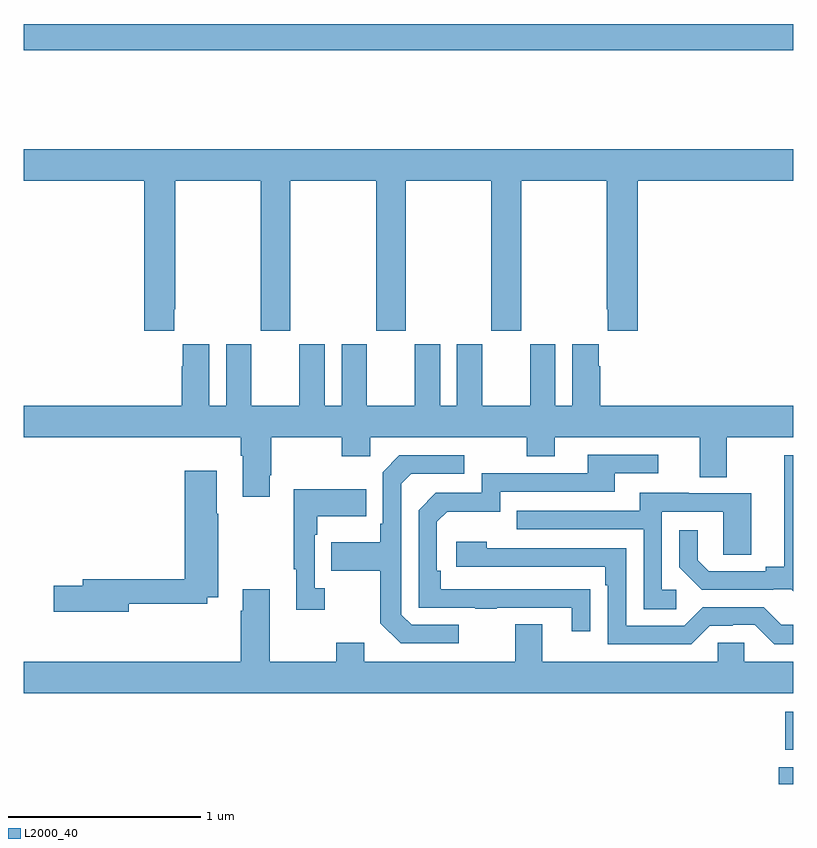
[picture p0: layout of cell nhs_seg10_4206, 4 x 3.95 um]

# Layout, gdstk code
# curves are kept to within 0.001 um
import gdstk
lib = gdstk.Library(unit=1e-6, precision=1e-09)
def R(c, l, rs):  # rectangles x0, y0, x1, y1
    for r in rs: c.add(gdstk.rectangle(r[:2], r[2:], *l))
def P(c, l, *ps):  # polygons
    for p in ps: c.add(gdstk.Polygon(p, *l))
L2000_40 = (2000, 40)

nhs_seg10_4206 = lib.new_cell('nhs_seg10_4206')
R(nhs_seg10_4206, L2000_40, [(348.926,1310.5,349,1310.587), (348.959,1310.678,349,1310.877), (345,1314.316,349,1314.452)])
P(nhs_seg10_4206, L2000_40, [(345.781,1312.969),(345.786,1312.969),(345.786,1313.636),(346.231,1313.636),(346.231,1312.857),(346.386,1312.857),(346.386,1313.636),(346.831,1313.636),(346.831,1312.857),(346.986,1312.857),(346.986,1313.636),(347.431,1313.636),(347.431,1312.857),(347.586,1312.857),(347.586,1313.636),(348.031,1313.636),(348.031,1312.969),(348.035,1312.969),(348.035,1312.857),(348.191,1312.857),(348.191,1313.636),(349,1313.636),(349,1313.8),(345,1313.8),(345,1313.636),(345.626,1313.636),(345.626,1312.857),(345.781,1312.857)],
  [(348.515,1312.096),(348.655,1312.096),(348.655,1312.304),(349,1312.304),(349,1312.468),(347.996,1312.468),(347.996,1312.673),(347.989,1312.673),(347.989,1312.786),(347.852,1312.786),(347.852,1312.468),(347.764,1312.468),(347.764,1312.786),(347.633,1312.786),(347.633,1312.468),(347.383,1312.468),(347.383,1312.786),(347.252,1312.786),(347.252,1312.468),(347.164,1312.468),(347.164,1312.786),(347.033,1312.786),(347.033,1312.468),(346.783,1312.468),(346.783,1312.786),(346.652,1312.786),(346.652,1312.468),(346.564,1312.468),(346.564,1312.786),(346.433,1312.786),(346.433,1312.468),(346.183,1312.468),(346.183,1312.786),(346.052,1312.786),(346.052,1312.468),(345.964,1312.468),(345.964,1312.786),(345.827,1312.786),(345.827,1312.673),(345.821,1312.673),(345.821,1312.468),(345,1312.468),(345,1312.304),(346.127,1312.304),(346.127,1312.208),(346.139,1312.208),(346.139,1311.993),(346.279,1311.993),(346.279,1312.105),(346.287,1312.105),(346.287,1312.304),(346.654,1312.304),(346.654,1312.205),(346.8,1312.205),(346.8,1312.304),(347.614,1312.304),(347.614,1312.205),(347.761,1312.205),(347.761,1312.304),(348.515,1312.304)],
  [(347.945,1311.512),(347.168,1311.513),(347.168,1311.61),(347.148,1311.61),(347.148,1311.864),(347.201,1311.917),(347.478,1311.917),(347.478,1312.02),(348.073,1312.02),(348.073,1312.116),(348.298,1312.116),(348.298,1312.212),(347.933,1312.212),(347.933,1312.116),(347.382,1312.116),(347.382,1312.014),(347.142,1312.014),(347.052,1311.924),(347.052,1311.417),(347.347,1311.417),(347.347,1311.412),(347.459,1311.412),(347.459,1311.417),(347.849,1311.417),(347.849,1311.294),(347.945,1311.294)],
  [(349,1312.209),(348.953,1312.209),(348.953,1311.629),(348.857,1311.629),(348.857,1311.606),(348.562,1311.606),(348.505,1311.663),(348.505,1311.82),(348.408,1311.82),(348.408,1311.626),(348.524,1311.51),(348.896,1311.51),(348.896,1311.513),(348.99,1311.513),(349,1311.503)],
  [(347.26,1311.327),(347.016,1311.327),(346.962,1311.381),(346.962,1312.062),(347.013,1312.113),(347.29,1312.113),(347.29,1312.209),(346.953,1312.209),(346.866,1312.122),(346.866,1311.853),(346.854,1311.853),(346.854,1311.757),(346.597,1311.757),(346.597,1311.61),(346.854,1311.61),(346.854,1311.337),(346.959,1311.231),(347.26,1311.231)],
  [(345.544,1311.438),(345.954,1311.438),(345.954,1311.47),(346.011,1311.47),(346.011,1311.905),(346.003,1311.905),(346.003,1312.129),(345.836,1312.129),(345.836,1311.566),(345.305,1311.566),(345.305,1311.53),(345.156,1311.53),(345.156,1311.395),(345.544,1311.395)],
  [(346.564,1311.518),(346.512,1311.518),(346.512,1311.797),(346.525,1311.797),(346.525,1311.893),(346.781,1311.893),(346.781,1312.033),(346.404,1312.033),(346.404,1311.617),(346.415,1311.617),(346.415,1311.405),(346.564,1311.405)],
  [(348.391,1311.51),(348.318,1311.51),(348.318,1311.915),(348.636,1311.915),(348.636,1311.691),(348.781,1311.691),(348.781,1312.011),(348.457,1312.011),(348.457,1312.015),(348.203,1312.015),(348.203,1311.921),(347.563,1311.921),(347.563,1311.825),(348.222,1311.825),(348.222,1311.409),(348.391,1311.409)],
  [(349,1311.327),(348.939,1311.327),(348.846,1311.42),(348.531,1311.42),(348.435,1311.324),(348.132,1311.324),(348.132,1311.726),(347.408,1311.726),(347.408,1311.76),(347.247,1311.76),(347.247,1311.63),(348.023,1311.63),(348.023,1311.533),(348.036,1311.533),(348.036,1311.228),(348.471,1311.228),(348.567,1311.324),(348.686,1311.324),(348.686,1311.327),(348.801,1311.327),(348.901,1311.227),(349,1311.227)],
  [(349,1311.136),(348.747,1311.136),(348.747,1311.234),(348.609,1311.234),(348.609,1311.136),(347.695,1311.136),(347.695,1311.331),(347.555,1311.331),(347.555,1311.136),(346.771,1311.136),(346.771,1311.235),(346.624,1311.235),(346.624,1311.136),(346.279,1311.136),(346.279,1311.514),(346.139,1311.514),(346.139,1311.401),(346.127,1311.401),(346.127,1311.136),(345,1311.136),(345,1310.972),(349,1310.972)])

lib.write_gds('nhs_seg10_4206.gds')
